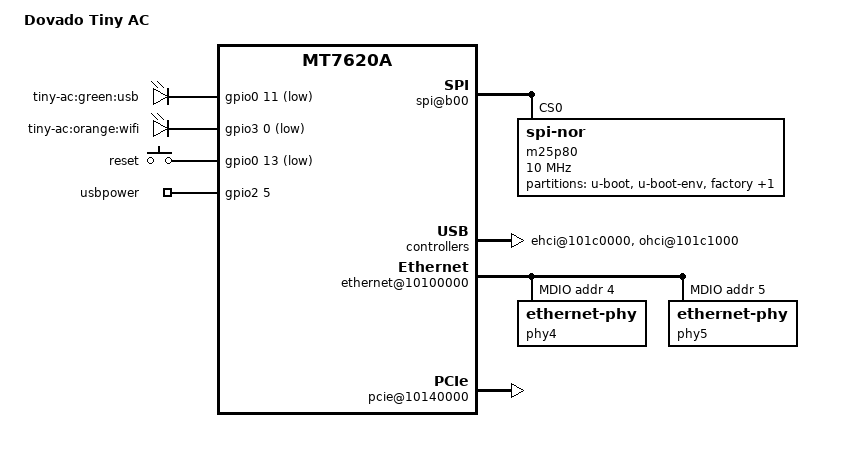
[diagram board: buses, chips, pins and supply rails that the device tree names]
/dts-v1/;

/include/ "mt7620a.dtsi"

/ {
	compatible = "TINY-AC", "ralink,mt7620a-soc";
	model = "Dovado Tiny AC";

	chosen {
		bootargs = "console=ttyS0,57600";
	};

	palmbus@10000000 {
		gpio0: gpio@600 {
			status = "okay";
		};

		gpio2: gpio@660 {
			status = "okay";
		};

		gpio3: gpio@688 {
			status = "okay";
		};

		spi@b00 {
			status = "okay";

			m25p80@0 {
				#address-cells = <1>;
				#size-cells = <1>;
				compatible = "jedec,spi-nor";
				reg = <0 0>;
				linux,modalias = "m25p80", "mx25l6405d";
				spi-max-frequency = <10000000>;

				partition@0 {
					label = "u-boot";
					reg = <0x0 0x30000>;
					read-only;
				};

				partition@30000 {
					label = "u-boot-env";
					reg = <0x30000 0x10000>;
					read-only;
				};

				factory: partition@40000 {
					label = "factory";
					reg = <0x40000 0x10000>;
					read-only;
				};

				partition@50000 {
					label = "firmware";
					reg = <0x50000 0x7b0000>;
				};
			};
		};
	};

	ehci@101c0000 {
		status = "okay";
	};

	ohci@101c1000 {
		status = "okay";
	};

	ethernet@10100000 {
		status = "okay";
		pinctrl-names = "default";
		pinctrl-0 = <&rgmii1_pins &rgmii2_pins &mdio_pins>;
		mediatek,portmap = "llllw";

		port@4 {
			status = "okay";
			phy-mode = "rgmii";
			phy-handle = <&phy4>;
		};

		port@5 {
			status = "okay";
			phy-mode = "rgmii";
			phy-handle = <&phy5>;
		};

		mdio-bus {
			status = "okay";

			phy4: ethernet-phy@4 {
				reg = <4>;
				phy-mode = "rgmii";
			};

			phy5: ethernet-phy@5 {
				reg = <5>;
				phy-mode = "rgmii";
			};
		};
	};

	gsw@10110000 {
		mediatek,port4 = "gmac";
		mediatek,mt7530 = <1>;

	};

	wmac@10180000 {
		ralink,eeprom = "rt2x00pci_1_0.eeprom";
	};

	pcie@10140000 {
		status = "okay";
	};

	pinctrl {
		state_default: pinctrl0 {
			gpio {
				ralink,group = "uartf", "nd_sd", "wled";
				ralink,function = "gpio";
			};
		};
	};

	gpio-leds {
		compatible = "gpio-leds";

		usb {
			label = "tiny-ac:green:usb";
			gpios = <&gpio0 11 1>;
		};

		wifi {
			label = "tiny-ac:orange:wifi";
			gpios = <&gpio3 0 1>;
		};

	};

	gpio-keys-polled {
		compatible = "gpio-keys-polled";
		#address-cells = <1>;
		#size-cells = <0>;
		poll-interval = <20>;

		reset {
			label = "reset";
			gpios = <&gpio0 13 1>;
			linux,code = <0x198>;
		};

	};

	gpio_export {
		compatible = "gpio-export";
		#size-cells = <0>;

		usbpower {
			gpio-export,name = "usbpower";
			gpio-export,output = <1>;
			gpios = <&gpio2 5 0>;
		};
	};
};
